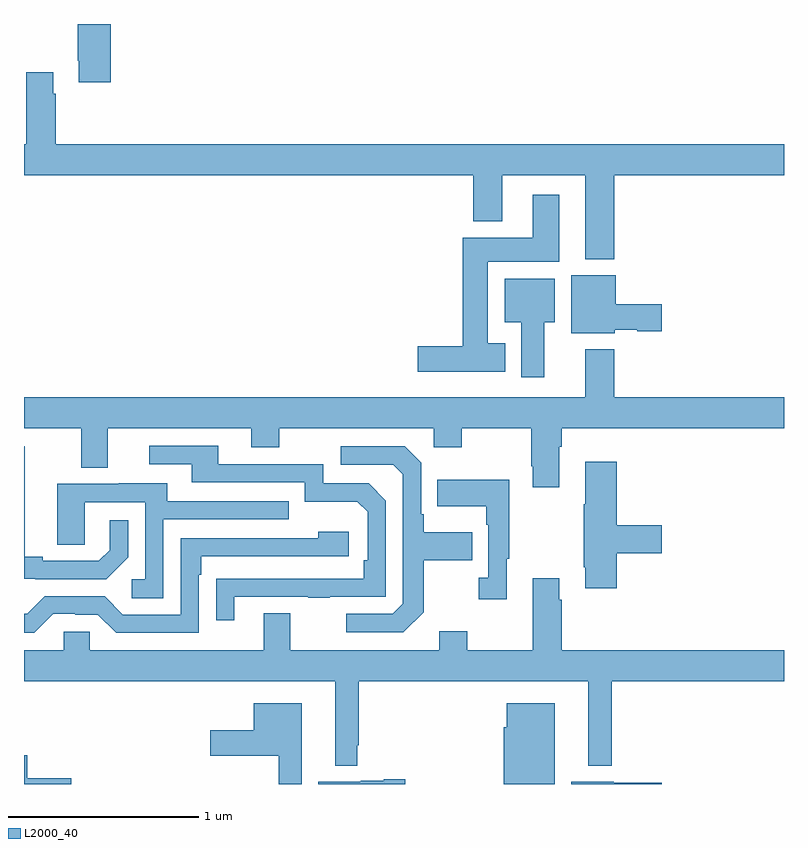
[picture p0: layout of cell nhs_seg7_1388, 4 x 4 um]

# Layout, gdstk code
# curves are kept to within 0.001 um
import gdstk
lib = gdstk.Library(unit=1e-6, precision=1e-09)
def P(c, l, *ps):  # polygons
    for p in ps: c.add(gdstk.Polygon(p, *l))
L2000_40 = (2000, 40)

nhs_seg7_1388 = lib.new_cell('nhs_seg7_1388')
P(nhs_seg7_1388, L2000_40, [(205.457,1080),(205.282,1080),(205.282,1079.806),(205.289,1079.806),(205.289,1079.694),(205.457,1079.694)],
  [(208.106,1079.204),(209,1079.204),(209,1079.368),(205.166,1079.368),(205.166,1079.633),(205.153,1079.633),(205.153,1079.746),(205.013,1079.746),(205.013,1079.368),(205,1079.368),(205,1079.204),(207.365,1079.204),(207.365,1078.961),(207.517,1078.961),(207.517,1079.204),(207.953,1079.204),(207.953,1078.763),(208.106,1078.763)],
  [(207.532,1078.321),(207.442,1078.321),(207.442,1078.748),(207.817,1078.748),(207.817,1079.101),(207.677,1079.101),(207.677,1078.876),(207.308,1078.876),(207.308,1078.304),(207.072,1078.304),(207.072,1078.169),(207.532,1078.169)],
  [(208.11,1078.391),(208.227,1078.391),(208.227,1078.384),(208.357,1078.384),(208.357,1078.526),(208.114,1078.526),(208.114,1078.678),(207.881,1078.678),(207.881,1078.373),(208.11,1078.373)],
  [(207.739,1078.43),(207.793,1078.43),(207.793,1078.66),(207.53,1078.66),(207.53,1078.43),(207.617,1078.43),(207.617,1078.14),(207.739,1078.14)],
  [(207.817,1077.776),(207.83,1077.776),(207.83,1077.872),(209,1077.872),(209,1078.036),(208.106,1078.036),(208.106,1078.288),(207.953,1078.288),(207.953,1078.036),(205,1078.036),(205,1077.872),(205.301,1077.872),(205.301,1077.664),(205.441,1077.664),(205.441,1077.872),(206.195,1077.872),(206.195,1077.773),(206.343,1077.773),(206.343,1077.872),(207.156,1077.872),(207.156,1077.773),(207.303,1077.773),(207.303,1077.872),(207.67,1077.872),(207.67,1077.673),(207.677,1077.673),(207.677,1077.561),(207.817,1077.561)],
  [(206.107,1076.985),(206.497,1076.985),(206.497,1076.98),(206.609,1076.98),(206.609,1076.985),(206.904,1076.985),(206.904,1077.492),(206.814,1077.582),(206.574,1077.582),(206.574,1077.684),(206.023,1077.684),(206.023,1077.78),(205.659,1077.78),(205.659,1077.684),(205.883,1077.684),(205.883,1077.588),(206.478,1077.588),(206.478,1077.485),(206.755,1077.485),(206.808,1077.432),(206.808,1077.178),(206.788,1077.178),(206.788,1077.081),(206.011,1077.08),(206.011,1076.862),(206.107,1076.862)],
  [(207.103,1076.905),(207.103,1077.178),(207.359,1077.178),(207.359,1077.325),(207.103,1077.325),(207.103,1077.421),(207.09,1077.421),(207.09,1077.69),(207.003,1077.777),(206.667,1077.777),(206.667,1077.681),(206.943,1077.681),(206.994,1077.63),(206.994,1076.949),(206.94,1076.895),(206.697,1076.895),(206.697,1076.799),(206.997,1076.799)],
  [(205.548,1077.194),(205.548,1077.388),(205.451,1077.388),(205.451,1077.231),(205.394,1077.174),(205.099,1077.174),(205.099,1077.197),(205.003,1077.197),(205.003,1077.777),(205,1077.777),(205,1077.081),(205.06,1077.081),(205.06,1077.078),(205.432,1077.078)],
  [(208.121,1077.215),(208.357,1077.215),(208.357,1077.362),(208.121,1077.362),(208.121,1077.697),(207.953,1077.697),(207.953,1077.473),(207.946,1077.473),(207.946,1077.142),(207.953,1077.142),(207.953,1077.03),(208.121,1077.03)],
  [(207.541,1077.185),(207.553,1077.185),(207.553,1077.601),(207.175,1077.601),(207.175,1077.461),(207.432,1077.461),(207.432,1077.365),(207.444,1077.365),(207.444,1077.086),(207.393,1077.086),(207.393,1076.973),(207.541,1076.973)],
  [(205.734,1077.393),(206.393,1077.393),(206.393,1077.489),(205.753,1077.489),(205.753,1077.583),(205.499,1077.583),(205.499,1077.579),(205.175,1077.579),(205.175,1077.259),(205.32,1077.259),(205.32,1077.483),(205.638,1077.483),(205.638,1077.078),(205.566,1077.078),(205.566,1076.977),(205.734,1076.977)],
  [(205.155,1076.895),(205.271,1076.895),(205.271,1076.892),(205.389,1076.892),(205.485,1076.796),(205.92,1076.796),(205.92,1077.101),(205.933,1077.101),(205.933,1077.198),(206.71,1077.198),(206.71,1077.328),(206.549,1077.328),(206.549,1077.294),(205.824,1077.294),(205.824,1076.892),(205.521,1076.892),(205.425,1076.988),(205.11,1076.988),(205.017,1076.895),(205,1076.895),(205,1076.795),(205.055,1076.795)],
  [(206.753,1076.203),(206.761,1076.203),(206.761,1076.54),(207.971,1076.54),(207.971,1076.096),(208.093,1076.096),(208.093,1076.54),(209,1076.54),(209,1076.704),(207.83,1076.704),(207.83,1076.969),(207.817,1076.969),(207.817,1077.082),(207.677,1077.082),(207.677,1076.704),(207.333,1076.704),(207.333,1076.803),(207.185,1076.803),(207.185,1076.704),(206.401,1076.704),(206.401,1076.899),(206.261,1076.899),(206.261,1076.704),(205.347,1076.704),(205.347,1076.802),(205.209,1076.802),(205.209,1076.704),(205,1076.704),(205,1076.54),(206.639,1076.54),(206.639,1076.096),(206.753,1076.096)],
  [(206.461,1076.425),(206.21,1076.425),(206.21,1076.284),(205.98,1076.284),(205.98,1076.15),(206.34,1076.15),(206.34,1076),(206.461,1076)],
  [(207.793,1076.425),(207.542,1076.425),(207.542,1076.298),(207.524,1076.298),(207.524,1076),(207.793,1076)],
  [(205.249,1076.03),(205.016,1076.03),(205.016,1076.151),(205,1076.151),(205,1076),(205.249,1076)],
  [(207.007,1076.024),(206.894,1076.024),(206.894,1076.017),(206.772,1076.017),(206.772,1076.011),(206.549,1076.011),(206.549,1076),(207.007,1076)],
  [(208.357,1076.006),(208.104,1076.006),(208.104,1076.011),(207.881,1076.011),(207.881,1076),(208.357,1076)])

lib.write_gds('nhs_seg7_1388.gds')
